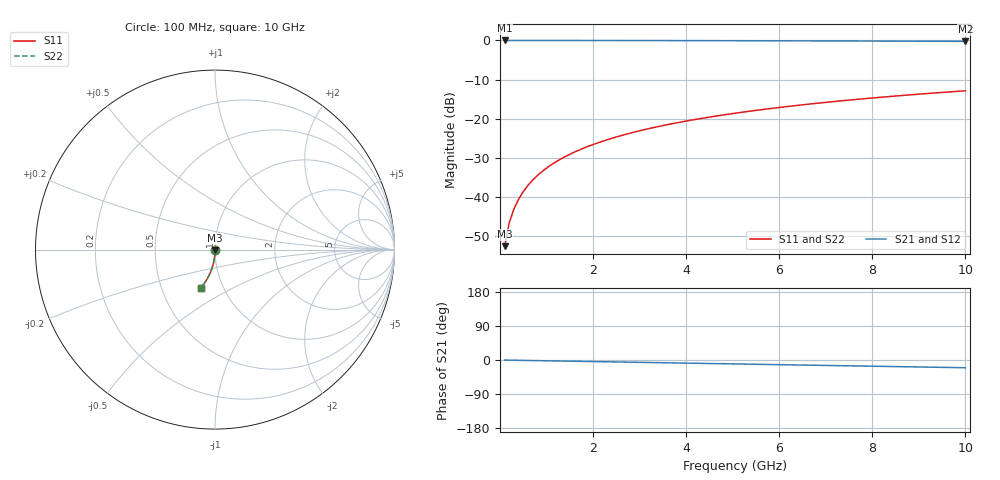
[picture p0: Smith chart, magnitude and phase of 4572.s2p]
# Hz S RI R 50.00
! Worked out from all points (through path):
!   100 points, 100 MHz to 10 GHz, reference 50 ohm
!   highest |S21| = 0.00 dB at 100 MHz (marker M1); lowest = -0.2 dB at 10 GHz (marker M2)
!   group delay of S21, straight-line fit = 5.68 ps
!   lowest |S11| = -52.6 dB at 100 MHz (marker M3), VSWR 1.00, Z = 50 - j0.234 ohm
!   |S11| at or under -10 dB: start of sweep to end of sweep
!   |S22| runs from -52.6 to -12.9 dB; largest |S21 - S12| = 0
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1e8  0.000245 -0.00234  0.9997 -0.00359  0.9997 -0.00359  0.000245 -0.00234
2e8  0.000218 -0.00468  0.9997 -0.00717  0.9997 -0.00717  0.000218 -0.00468
3e8  0.000175 -0.00702  0.9996 -0.0108  0.9996 -0.0108  0.000175 -0.00702
4e8  0.000114 -0.00936  0.9996 -0.0143  0.9996 -0.0143  0.000114 -0.00936
5e8  3.67e-05 -0.0117  0.9995 -0.0179  0.9995 -0.0179  3.67e-05 -0.0117
6e8  -5.76e-05 -0.014  0.9994 -0.0215  0.9994 -0.0215  -5.76e-05 -0.014
7e8  -0.000169 -0.0164  0.9993 -0.0251  0.9993 -0.0251  -0.000169 -0.0164
8e8  -0.000297 -0.0187  0.9991 -0.0287  0.9991 -0.0287  -0.000297 -0.0187
9e8  -0.000442 -0.021  0.999 -0.0323  0.999 -0.0323  -0.000442 -0.021
1.1e9  -0.000782 -0.0257  0.9986 -0.0394  0.9986 -0.0394  -0.000782 -0.0257
1.4e9  -0.00142 -0.0327  0.9979 -0.0502  0.9979 -0.0502  -0.00142 -0.0327
1.8e9  -0.0025 -0.042  0.9967 -0.0645  0.9967 -0.0645  -0.0025 -0.042
2.1e9  -0.00349 -0.049  0.9956 -0.0752  0.9956 -0.0752  -0.00349 -0.049
2.5e9  -0.00504 -0.0582  0.9939 -0.0894  0.9939 -0.0894  -0.00504 -0.0582
2.9e9  -0.00685 -0.0674  0.9919 -0.1036  0.9919 -0.1036  -0.00685 -0.0674
3.4e9  -0.00948 -0.0788  0.9891 -0.1213  0.9891 -0.1213  -0.00948 -0.0788
4.2e9  -0.0145 -0.0968  0.9835 -0.1493  0.9835 -0.1493  -0.0145 -0.0968
5.1e9  -0.0214 -0.1166  0.976 -0.1805  0.976 -0.1805  -0.0214 -0.1166
5.9e9  -0.0286 -0.1338  0.9681 -0.2078  0.9681 -0.2078  -0.0286 -0.1338
6.7e9  -0.0367 -0.1506  0.9591 -0.2346  0.9591 -0.2346  -0.0367 -0.1506
8.4e9  -0.0569 -0.1842  0.9369 -0.2899  0.9369 -0.2899  -0.0569 -0.1842
1e10  -0.0792 -0.2131  0.9122 -0.3393  0.9122 -0.3393  -0.0792 -0.2131
